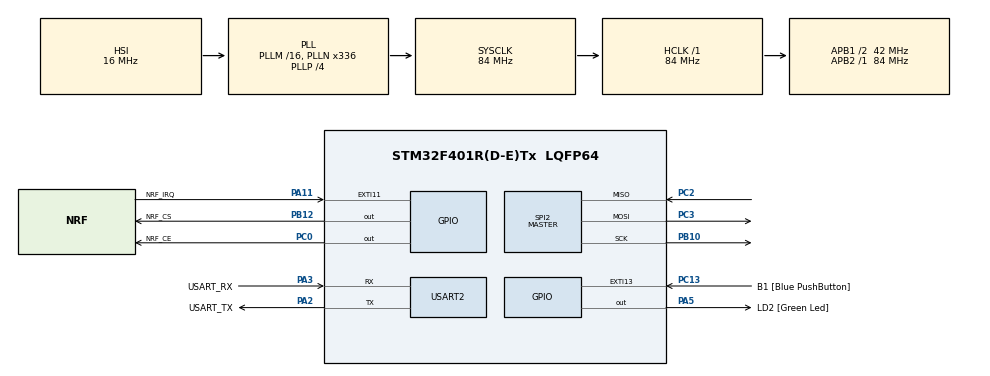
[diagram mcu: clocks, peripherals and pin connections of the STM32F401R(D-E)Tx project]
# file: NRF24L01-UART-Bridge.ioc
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Dma.Request0=USART2_RX
Dma.USART2_RX.0.Direction=DMA_PERIPH_TO_MEMORY
Dma.USART2_RX.0.FIFOMode=DMA_FIFOMODE_DISABLE
Dma.USART2_RX.0.Instance=DMA1_Stream5
Dma.USART2_RX.0.MemDataAlignment=DMA_MDATAALIGN_BYTE
Dma.USART2_RX.0.MemInc=DMA_MINC_ENABLE
Dma.USART2_RX.0.Mode=DMA_NORMAL
Dma.USART2_RX.0.PeriphDataAlignment=DMA_PDATAALIGN_BYTE
Dma.USART2_RX.0.PeriphInc=DMA_PINC_DISABLE
Dma.USART2_RX.0.Priority=DMA_PRIORITY_MEDIUM
Mcu.Family=STM32F4
Mcu.Name=STM32F401R(D-E)Tx
Mcu.Package=LQFP64
NVIC.DMA1_Stream5_IRQn=true\:0\:0\:false\:false\:true\:false
NVIC.EXTI15_10_IRQn=true\:0\:0\:false\:false\:true\:true
NVIC.PriorityGroup=NVIC_PRIORITYGROUP_0
NVIC.SPI2_IRQn=true\:0\:0\:false\:false\:true\:true
NVIC.USART2_IRQn=true\:0\:0\:false\:false\:true\:true
PA11.GPIO_Label=NRF_IRQ
PA11.GPIO_ModeDefaultEXTI=GPIO_MODE_IT_RISING_FALLING
PA11.GPIO_PuPd=GPIO_NOPULL
PA11.Signal=GPXTI11
PA13.GPIO_Label=TMS
PA13.Mode=Serial_Wire
PA13.Signal=SYS_JTMS-SWDIO
PA14.GPIO_Label=TCK
PA14.Mode=Serial_Wire
PA14.Signal=SYS_JTCK-SWCLK
PA2.GPIO_Label=USART_TX
PA2.GPIO_Mode=GPIO_MODE_AF_PP
PA2.GPIO_PuPd=GPIO_NOPULL
PA2.GPIO_Speed=GPIO_SPEED_FREQ_LOW
PA2.Mode=Asynchronous
PA2.Signal=USART2_TX
PA3.GPIO_Label=USART_RX
PA3.GPIO_Mode=GPIO_MODE_AF_PP
PA3.GPIO_PuPd=GPIO_NOPULL
PA3.GPIO_Speed=GPIO_SPEED_FREQ_LOW
PA3.Mode=Asynchronous
PA3.Signal=USART2_RX
PA5.GPIO_Label=LD2 [Green Led]
PA5.GPIO_Mode=GPIO_MODE_OUTPUT_PP
PA5.GPIO_PuPd=GPIO_NOPULL
PA5.GPIO_Speed=GPIO_SPEED_FREQ_LOW
PA5.Signal=GPIO_Output
PB10.GPIO_PuPd=GPIO_NOPULL
PB10.Mode=Full_Duplex_Master
PB10.Signal=SPI2_SCK
PB12.GPIO_Label=NRF_CS
PB12.GPIO_PuPd=GPIO_PULLUP
PB12.GPIO_Speed=GPIO_SPEED_FREQ_VERY_HIGH
PB12.PinState=GPIO_PIN_SET
PB12.Signal=GPIO_Output
PB3.GPIO_Label=SWO
PB3.Signal=SYS_JTDO-SWO
PC0.GPIO_Label=NRF_CE
PC0.GPIO_PuPd=GPIO_PULLDOWN
PC0.GPIO_Speed=GPIO_SPEED_FREQ_VERY_HIGH
PC0.Signal=GPIO_Output
PC13-ANTI_TAMP.GPIO_Label=B1 [Blue PushButton]
PC13-ANTI_TAMP.GPIO_ModeDefaultEXTI=GPIO_MODE_IT_FALLING
PC13-ANTI_TAMP.GPIO_PuPd=GPIO_NOPULL
PC13-ANTI_TAMP.Signal=GPXTI13
PC14-OSC32_IN.Mode=LSE-External-Oscillator
PC14-OSC32_IN.Signal=RCC_OSC32_IN
PC15-OSC32_OUT.Mode=LSE-External-Oscillator
PC15-OSC32_OUT.Signal=RCC_OSC32_OUT
PC2.GPIO_PuPd=GPIO_NOPULL
PC2.Mode=Full_Duplex_Master
PC2.Signal=SPI2_MISO
PC3.GPIO_PuPd=GPIO_NOPULL
PC3.Mode=Full_Duplex_Master
PC3.Signal=SPI2_MOSI
PH0\ -\ OSC_IN.Mode=HSE-External-Clock-Source
PH0\ -\ OSC_IN.Signal=RCC_OSC_IN
PH1\ -\ OSC_OUT.Mode=HSE-External-Clock-Source
PH1\ -\ OSC_OUT.Signal=RCC_OSC_OUT
ProjectManager.HeapSize=0x200
ProjectManager.StackSize=0x400
ProjectManager.TargetToolchain=MDK-ARM V5
RCC.48MHZClocksFreq_Value=48000000
RCC.AHBFreq_Value=84000000
RCC.APB1CLKDivider=RCC_HCLK_DIV2
RCC.APB1Freq_Value=42000000
RCC.APB1TimFreq_Value=84000000
RCC.APB2Freq_Value=84000000
RCC.APB2TimFreq_Value=84000000
RCC.CortexFreq_Value=84000000
RCC.HCLKFreq_Value=84000000
RCC.HSE_VALUE=8000000
RCC.HSI_VALUE=16000000
RCC.PLLN=336
RCC.PLLP=RCC_PLLP_DIV4
RCC.PLLQ=7
RCC.SYSCLKFreq_VALUE=84000000
RCC.SYSCLKSource=RCC_SYSCLKSOURCE_PLLCLK
RCC.VCOOutputFreq_Value=336000000
SPI2.BaudRatePrescaler=SPI_BAUDRATEPRESCALER_128
SPI2.CLKPolarity=SPI_POLARITY_LOW
SPI2.CRCCalculation=SPI_CRCCALCULATION_DISABLE
SPI2.Direction=SPI_DIRECTION_2LINES
SPI2.Mode=SPI_MODE_MASTER
SPI2.TIMode=SPI_TIMODE_DISABLE
SPI2.VirtualNSS=VM_NSSHARD
SPI2.VirtualType=VM_MASTER
USART2.VirtualMode=VM_ASYNC
board=NUCLEO-F401RE

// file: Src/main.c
/**
  ******************************************************************************
  * @file           : main.c
  * @brief          : Main program body
  ******************************************************************************
  ** This notice applies to any and all portions of this file
  * that are not between comment pairs USER CODE BEGIN and
  * USER CODE END. Other portions of this file, whether
  * inserted by the user or by software development tools
  * are owned by their respective copyright owners.
  *
  * COPYRIGHT(c) 2019 STMicroelectronics
  *
  * Redistribution and use in source and binary forms, with or without modification,
  * are permitted provided that the following conditions are met:
  *   1. Redistributions of source code must retain the above copyright notice,
  *      this list of conditions and the following disclaimer.
  *   2. Redistributions in binary form must reproduce the above copyright notice,
  *      this list of conditions and the following disclaimer in the documentation
  *      and/or other materials provided with the distribution.
  *   3. Neither the name of STMicroelectronics nor the names of its contributors
  *      may be used to endorse or promote products derived from this software
  *      without specific prior written permission.
  *
  * THIS SOFTWARE IS PROVIDED BY THE COPYRIGHT HOLDERS AND CONTRIBUTORS "AS IS"
  * AND ANY EXPRESS OR IMPLIED WARRANTIES, INCLUDING, BUT NOT LIMITED TO, THE
  * IMPLIED WARRANTIES OF MERCHANTABILITY AND FITNESS FOR A PARTICULAR PURPOSE ARE
  * DISCLAIMED. IN NO EVENT SHALL THE COPYRIGHT HOLDER OR CONTRIBUTORS BE LIABLE
  * FOR ANY DIRECT, INDIRECT, INCIDENTAL, SPECIAL, EXEMPLARY, OR CONSEQUENTIAL
  * DAMAGES (INCLUDING, BUT NOT LIMITED TO, PROCUREMENT OF SUBSTITUTE GOODS OR
  * SERVICES; LOSS OF USE, DATA, OR PROFITS; OR BUSINESS INTERRUPTION) HOWEVER
  * CAUSED AND ON ANY THEORY OF LIABILITY, WHETHER IN CONTRACT, STRICT LIABILITY,
  * OR TORT (INCLUDING NEGLIGENCE OR OTHERWISE) ARISING IN ANY WAY OUT OF THE USE
  * OF THIS SOFTWARE, EVEN IF ADVISED OF THE POSSIBILITY OF SUCH DAMAGE.
  *
  ******************************************************************************
  */
#include "main.h"
#include "stm32f4xx_hal.h"
#include "dma.h"
#include "spi.h"
#include "usart.h"
#include "gpio.h"

/* USER CODE BEGIN Includes */
#include "NRF24L01P_H.h"
#include "stdlib.h"
/* USER CODE END Includes */

/* USER CODE BEGIN PV */
/* Private variables ---------------------------------------------------------*/

volatile StateMachineTypeDef			SM 	= SM_RECEIVING;
volatile OtherOneStateTypeDef			OOS	= OOS_RX;

NRF24L01P_ExTypeDef 				nrf;
NRF24L01P_MED_InitTypeDef 	nrf_init;
NRF24L01P_HandlerTypeDef 		hnrf;
uint8_t											nrf_stat_reg;

					uint32_t						tmp_ndtr						=	0;
					uint8_t							req2t_rcvd_flg			=	0;
volatile	uint32_t						sm_transmit_timeout	=	0;
					uint8_t							tmp_msg_1[32] 			= "";
					uint8_t							uart_rx_fifo[96] 		= "";
					uint8_t							uart_rx_fifo_one[1] = "";
					uint8_t							tmp_nrf_pckt[4] 		= "";
/* USER CODE END PV */

void SystemClock_Config(void);

/* USER CODE BEGIN PFP */
/* Private function prototypes -----------------------------------------------*/
void NRF_Tx_DS_Callback(void);
void NRF_Rx_DR_Callback(void);
void NRF_MAX_RT_Callback(void);
/* USER CODE END PFP */

int main(void)
{

  /* MCU Configuration----------------------------------------------------------*/

  /* Reset of all peripherals, Initializes the Flash interface and the Systick. */
  HAL_Init();

  /* Configure the system clock */
  SystemClock_Config();

  /* Initialize all configured peripherals */
  MX_GPIO_Init();
  MX_DMA_Init();
  MX_USART2_UART_Init();
  MX_SPI2_Init();
  /* USER CODE BEGIN 2 */
	nrf.hspi 									= &hspi2;
	nrf.spi_cs_port 					= NRF_CS_GPIO_Port;
	nrf.spi_cs_pin  					= NRF_CS_Pin;

	nrf_init.P_Mode						= NRF_PRIMARY_MODE_RX;

	hnrf.instance 						= &nrf;
	hnrf.init									=	&nrf_init;
	hnrf.STAT_Reg							=	&nrf_stat_reg;
	hnrf.CE_Port							= NRF_CE_GPIO_Port;
	hnrf.CE_Pin								= NRF_CE_Pin;
	hnrf.IRQ_Port							= NRF_IRQ_GPIO_Port;
	hnrf.IRQ_Pin							=	NRF_IRQ_Pin;
	hnrf.Tx_DS_IRQ_Callback		=	&NRF_Tx_DS_Callback;
	hnrf.Rx_DR_IRQ_Callback 	= &NRF_Rx_DR_Callback;
	hnrf.Max_RT_IRQ_Callback	= &NRF_MAX_RT_Callback;

	NRF_H_Init( &hnrf );
	NRF_MED_Set_PowerUp( hnrf.instance, NRF_POWER_UP, NULL);

  /* USER CODE END 2 */

  /* Infinite loop */
  /* USER CODE BEGIN WHILE */
	HAL_Delay(2000);
	HAL_UART_Transmit(&huart2, (uint8_t*)"Hello!\n", 7, HAL_MAX_DELAY);

	HAL_UART_Receive_IT( &huart2, uart_rx_fifo_one, 1);
	/*
	// test for TX
	NRF_H_ResetChipEn( &hnrf );
	NRF_MED_Set_PrimaryMode( hnrf.instance, NRF_PRIMARY_MODE_TX, NULL);

	for( uint8_t i=0; i < 20; i++)
	{
		NRF_EX_Write_Tx_PL( hnrf.instance, 1, (uint8_t*)0xF0U, NULL);
		NRF_H_SetChipEn( &hnrf );
		HAL_Delay(2);
		NRF_H_ResetChipEn( &hnrf );
		HAL_Delay(700);
	}
	*/
  while (1)
  {
		switch (SM)
    {
    	case SM_RECEIVING:
			{
				//HAL_UART_Transmit(&huart2, (uint8_t*)"SM_RECEIVING!\n", 14, HAL_MAX_DELAY);
				NRF_H_SetChipEn( &hnrf );
    		break;
			}
    	case SM_RECEIVING_WAIT2T:
			{
				HAL_UART_Transmit(&huart2, (uint8_t*)"SM_RECEIVING_WAIT2T!\n", 21, HAL_MAX_DELAY);
				HAL_Delay(rand() % 20);
				if( req2t_rcvd_flg == 0 )
				{
					SM = SM_REQ2T;
					HAL_UART_Transmit(&huart2, (uint8_t*)"==> SM_REQ2T!\n", 14, HAL_MAX_DELAY);

					tmp_nrf_pckt[0] = 0;
					tmp_nrf_pckt[1] = 0;
					tmp_nrf_pckt[2] = 1;
					NRF_H_ResetChipEn( &hnrf );
					NRF_MED_Set_PrimaryMode( hnrf.instance, NRF_PRIMARY_MODE_TX, NULL);
					NRF_EX_Write_Tx_PL( hnrf.instance, 3, tmp_nrf_pckt, NULL);
					NRF_H_SetChipEn( &hnrf );
					HAL_Delay(1);
					NRF_H_ResetChipEn( &hnrf );
				}
				else if( req2t_rcvd_flg == 1 )
				{
					SM 	= SM_RECEIVING;
					OOS	=	OOS_TX;

					tmp_nrf_pckt[0] = 0;
					tmp_nrf_pckt[1] = 0;
					tmp_nrf_pckt[2] = 0;
					tmp_nrf_pckt[3] = uart_rx_fifo_one[0];

					NRF_EX_W_ACK_PAYLOAD( hnrf.instance, 4, tmp_nrf_pckt, 1, NULL);
					HAL_UART_Receive_IT( &huart2, uart_rx_fifo_one, 1);

					req2t_rcvd_flg = 0;
				}
    		break;
			}
			case SM_REQ2T:
			{
				//HAL_UART_Transmit(&huart2, (uint8_t*)"SM_REQ2T!    \n", 14, HAL_MAX_DELAY);
				break;
			}
			case SM_TRANSMITTING:
			{
				HAL_UART_Transmit(&huart2, (uint8_t*)"SM_TRANSMITTING!\n", 17, HAL_MAX_DELAY);
				if( sm_transmit_timeout > 2000 )
				{
					HAL_UART_Transmit(&huart2, (uint8_t*)"TX_TIMEOUT!  \n", 14, HAL_MAX_DELAY);
					SM = SM_REQ2R;
				}
    		break;
			}
			case SM_REQ2R:
			{
				HAL_UART_Transmit(&huart2, (uint8_t*)"SM_REQ2R!    \n", 14, HAL_MAX_DELAY);
				tmp_nrf_pckt[0] = 0;
				tmp_nrf_pckt[1] = 1;
				tmp_nrf_pckt[2] = 0;
				NRF_EX_Write_Tx_PL( hnrf.instance, 3, tmp_nrf_pckt, NULL);
				NRF_H_SetChipEn( &hnrf );
				HAL_Delay(1);
				NRF_H_ResetChipEn( &hnrf );

    		break;
			}
    	default:
    		break;
    }
  /* USER CODE END WHILE */

  }

}

void SystemClock_Config(void)
{

  RCC_OscInitTypeDef RCC_OscInitStruct;
  RCC_ClkInitTypeDef RCC_ClkInitStruct;

    /**Configure the main internal regulator output voltage
    */
  __HAL_RCC_PWR_CLK_ENABLE();

  __HAL_PWR_VOLTAGESCALING_CONFIG(PWR_REGULATOR_VOLTAGE_SCALE2);

    /**Initializes the CPU, AHB and APB busses clocks
    */
  RCC_OscInitStruct.OscillatorType = RCC_OSCILLATORTYPE_HSI;
  RCC_OscInitStruct.HSIState = RCC_HSI_ON;
  RCC_OscInitStruct.HSICalibrationValue = 16;
  RCC_OscInitStruct.PLL.PLLState = RCC_PLL_ON;
  RCC_OscInitStruct.PLL.PLLSource = RCC_PLLSOURCE_HSI;
  RCC_OscInitStruct.PLL.PLLM = 16;
  RCC_OscInitStruct.PLL.PLLN = 336;
  RCC_OscInitStruct.PLL.PLLP = RCC_PLLP_DIV4;
  RCC_OscInitStruct.PLL.PLLQ = 7;
  if (HAL_RCC_OscConfig(&RCC_OscInitStruct) != HAL_OK)
  {
    _Error_Handler(__FILE__, __LINE__);
  }

    /**Initializes the CPU, AHB and APB busses clocks
    */
  RCC_ClkInitStruct.ClockType = RCC_CLOCKTYPE_HCLK|RCC_CLOCKTYPE_SYSCLK
                              |RCC_CLOCKTYPE_PCLK1|RCC_CLOCKTYPE_PCLK2;
  RCC_ClkInitStruct.SYSCLKSource = RCC_SYSCLKSOURCE_PLLCLK;
  RCC_ClkInitStruct.AHBCLKDivider = RCC_SYSCLK_DIV1;
  RCC_ClkInitStruct.APB1CLKDivider = RCC_HCLK_DIV2;
  RCC_ClkInitStruct.APB2CLKDivider = RCC_HCLK_DIV1;

  if (HAL_RCC_ClockConfig(&RCC_ClkInitStruct, FLASH_LATENCY_2) != HAL_OK)
  {
    _Error_Handler(__FILE__, __LINE__);
  }

    /**Configure the Systick interrupt time
    */
  HAL_SYSTICK_Config(HAL_RCC_GetHCLKFreq()/1000);

    /**Configure the Systick
    */
  HAL_SYSTICK_CLKSourceConfig(SYSTICK_CLKSOURCE_HCLK);

  /* SysTick_IRQn interrupt configuration */
  HAL_NVIC_SetPriority(SysTick_IRQn, 0, 0);
}

/* USER CODE BEGIN 4 */
void NRF_Tx_DS_Callback(void)
{
	if( SM == SM_REQ2T )
	{
		SM = SM_TRANSMITTING;
		OOS = OOS_RX;
		HAL_UART_Receive_IT( &huart2, uart_rx_fifo_one, 1);
	}

}
void NRF_Rx_DR_Callback(void)
{
	uint8_t		tmp_reg;
	uint8_t		tmp_pld[32];
	NRF_EX_R_RX_PL_WID( hnrf.instance, &tmp_reg, NULL);
	NRF_EX_Read_Rx_PL( hnrf.instance, tmp_reg, tmp_pld, NULL);

	if( (tmp_pld[0] == 0) && (tmp_pld[1] == 0) && (tmp_pld[2] == 0) )
	{
		if( tmp_reg >= 4 )
		{
			HAL_UART_Transmit_IT(&huart2, tmp_pld+3, tmp_reg-3);
		}
	}
	else if( (tmp_pld[0] == 0) && (tmp_pld[1] == 0) && (tmp_pld[2] == 1) )
	{
		req2t_rcvd_flg = 1;
	}
	else if( (tmp_pld[0] == 0) && (tmp_pld[1] == 1) && (tmp_pld[2] == 0) )
	{
		OOS = OOS_RX;
	}
}
void NRF_MAX_RT_Callback(void)
{
	if( SM == SM_REQ2T )
	{
		SM = SM_RECEIVING_WAIT2T;

		NRF_MED_Set_PrimaryMode( hnrf.instance, NRF_PRIMARY_MODE_RX, NULL);
		NRF_H_SetChipEn( &hnrf );
	}
	else if( SM == SM_TRANSMITTING )
	{
		// Packet Trasmition Failed!
		UNUSED(0);
	}

}
/* USER CODE END 4 */

void _Error_Handler(char *file, int line)
{
  while(1)
  {
  }
}

/************************ (C) COPYRIGHT STMicroelectronics *****END OF FILE****/
